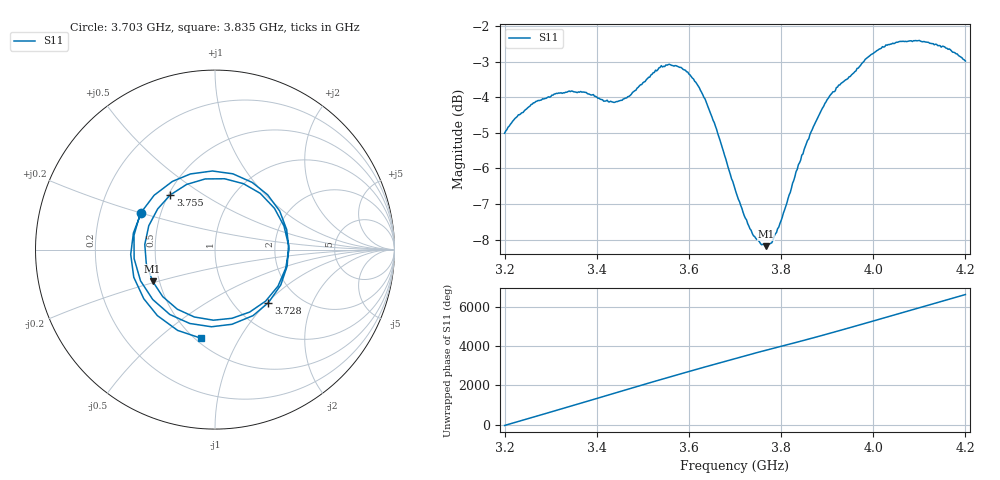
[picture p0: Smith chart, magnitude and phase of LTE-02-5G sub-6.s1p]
! NanoVNA-App
! Date: 2026-05-22 19:10:50
! Start: 3.2GHz Stop: 4.2GHz Points: 401
! S-Parameter data: F S11
# Hz S RI R 50
!  Frequency  S11_Real  S11_Imag
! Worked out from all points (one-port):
!   401 points, 3.2 GHz to 4.2 GHz, reference 50 ohm
!   lowest |S11| = -8.2 dB at 3.768 GHz (marker M1), VSWR 2.28, Z = 22.9 - j9.53 ohm
!   |S11| at or under -10 dB: nowhere
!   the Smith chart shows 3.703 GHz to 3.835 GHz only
!   S11 on the Smith chart (normalised r, x): 3.703 GHz: 0.38, +0.20; 3.728 GHz: 1.42, -1.02; 3.755 GHz: 0.51, +0.37; 3.835 GHz: 0.53, -0.70
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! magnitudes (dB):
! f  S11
! 3.2 GHz  -5.0
! 3.263 GHz  -4.2
! 3.325 GHz  -3.9
! 3.37 GHz  -3.9
! 3.415 GHz  -4.1
! 3.45 GHz  -4.1
! 3.538 GHz  -3.2
! 3.575 GHz  -3.1
! 3.603 GHz  -3.4
! 3.632 GHz  -4.0
! 3.66 GHz  -4.9
! 3.7 GHz  -6.6
! 3.703 GHz  -6.7
! 3.728 GHz  -7.5
! 3.755 GHz  -8.1
! 3.768 GHz  -8.2
! 3.78 GHz  -8.1
! 3.795 GHz  -7.6
! 3.825 GHz  -6.4
! 3.835 GHz  -6.0
! 3.868 GHz  -4.9
! 3.895 GHz  -4.2
! 3.925 GHz  -3.7
! 3.95 GHz  -3.4
! 4.015 GHz  -2.6
! 4.075 GHz  -2.4
! 4.155 GHz  -2.6
! 4.2 GHz  -3.0
